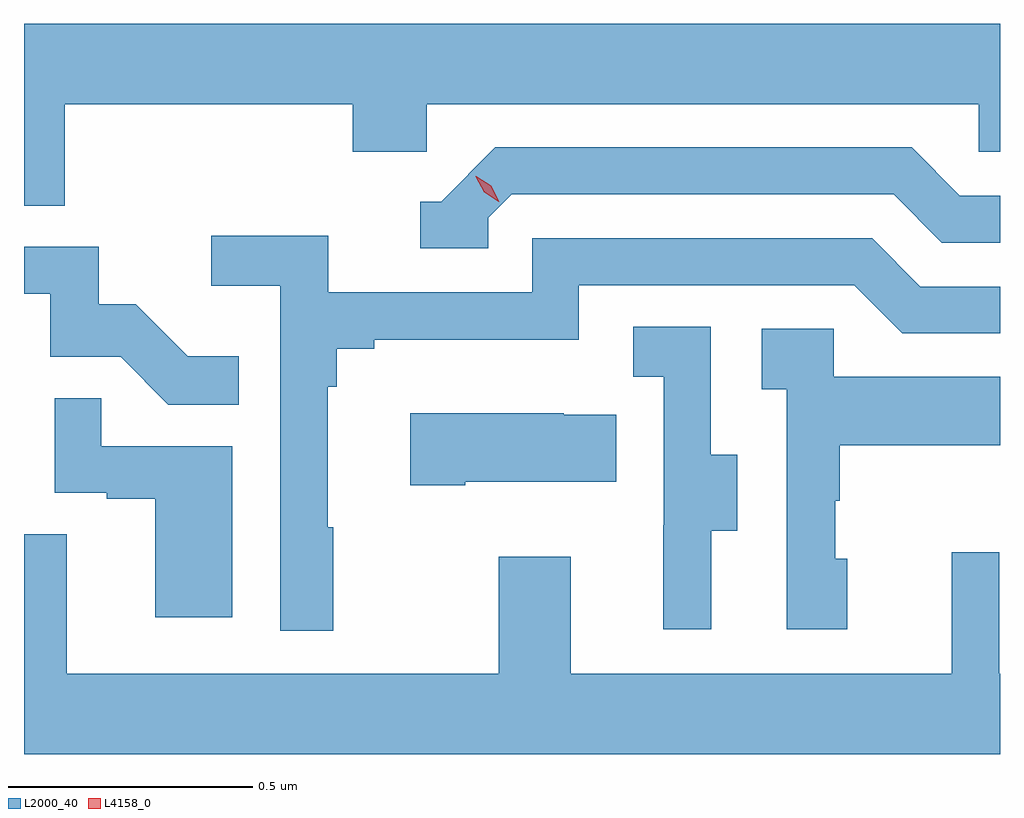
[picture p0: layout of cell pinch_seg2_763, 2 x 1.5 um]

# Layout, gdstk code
import gdstk
lib = gdstk.Library(unit=1e-6, precision=1e-09)
def P(c, l, *ps):  # polygons
    for p in ps: c.add(gdstk.Polygon(p, *l))
L2000_40 = (2000, 40)
L4158_0 = (4158, 0)

pinch_seg2_763 = lib.new_cell('pinch_seg2_763')
P(pinch_seg2_763, L2000_40, [(885.548,658.292),(886.139,658.292),(886.139,658.194),(886.29,658.194),(886.29,658.292),(887.421,658.292),(887.421,658.194),(887.465,658.194),(887.465,658.456),(885.465,658.456),(885.465,658.084),(885.548,658.084)],
  [(886.416,658.059),(886.464,658.107),(887.247,658.107),(887.346,658.008),(887.465,658.008),(887.465,658.104),(887.383,658.104),(887.284,658.203),(886.431,658.203),(886.32,658.092),(886.277,658.092),(886.277,657.996),(886.416,657.996)],
  [(886.099,657.425),(886.087,657.425),(886.087,657.713),(886.106,657.713),(886.106,657.79),(886.183,657.79),(886.183,657.809),(886.602,657.809),(886.602,657.921),(887.166,657.921),(887.265,657.822),(887.465,657.822),(887.465,657.918),(887.302,657.918),(887.203,658.017),(886.506,658.017),(886.506,657.906),(886.088,657.906),(886.088,658.022),(885.849,658.022),(885.849,657.92),(885.99,657.92),(885.99,657.213),(886.099,657.213)],
  [(885.905,657.775),(885.801,657.775),(885.694,657.882),(885.618,657.882),(885.618,657.999),(885.465,657.999),(885.465,657.903),(885.519,657.903),(885.519,657.774),(885.663,657.774),(885.761,657.676),(885.905,657.676)],
  [(886.873,657.418),(886.927,657.418),(886.927,657.573),(886.872,657.573),(886.872,657.836),(886.713,657.836),(886.713,657.733),(886.776,657.733),(886.776,657.429),(886.775,657.429),(886.775,657.216),(886.873,657.216)],
  [(887.152,657.36),(887.127,657.36),(887.127,657.479),(887.137,657.479),(887.137,657.593),(887.465,657.593),(887.465,657.733),(887.124,657.733),(887.124,657.831),(886.977,657.831),(886.977,657.707),(887.028,657.707),(887.028,657.216),(887.152,657.216)],
  [(885.892,657.591),(885.623,657.591),(885.623,657.689),(885.528,657.689),(885.528,657.495),(885.635,657.495),(885.635,657.483),(885.734,657.483),(885.734,657.24),(885.892,657.24)],
  [(886.369,657.518),(886.679,657.518),(886.679,657.655),(886.571,657.655),(886.571,657.658),(886.257,657.658),(886.257,657.511),(886.369,657.511)],
  [(887.465,657.124),(887.463,657.124),(887.463,657.373),(887.366,657.373),(887.366,657.124),(886.585,657.124),(886.585,657.364),(886.438,657.364),(886.438,657.124),(885.553,657.124),(885.553,657.41),(885.465,657.41),(885.465,656.96),(887.465,656.96)])
P(pinch_seg2_763, L4158_0, [(886.438,658.092),(886.408,658.111),(886.391,658.143),(886.391,658.144),(886.392,658.144),(886.422,658.125),(886.439,658.092),(886.439,658.092)])

lib.write_gds('pinch_seg2_763.gds')
